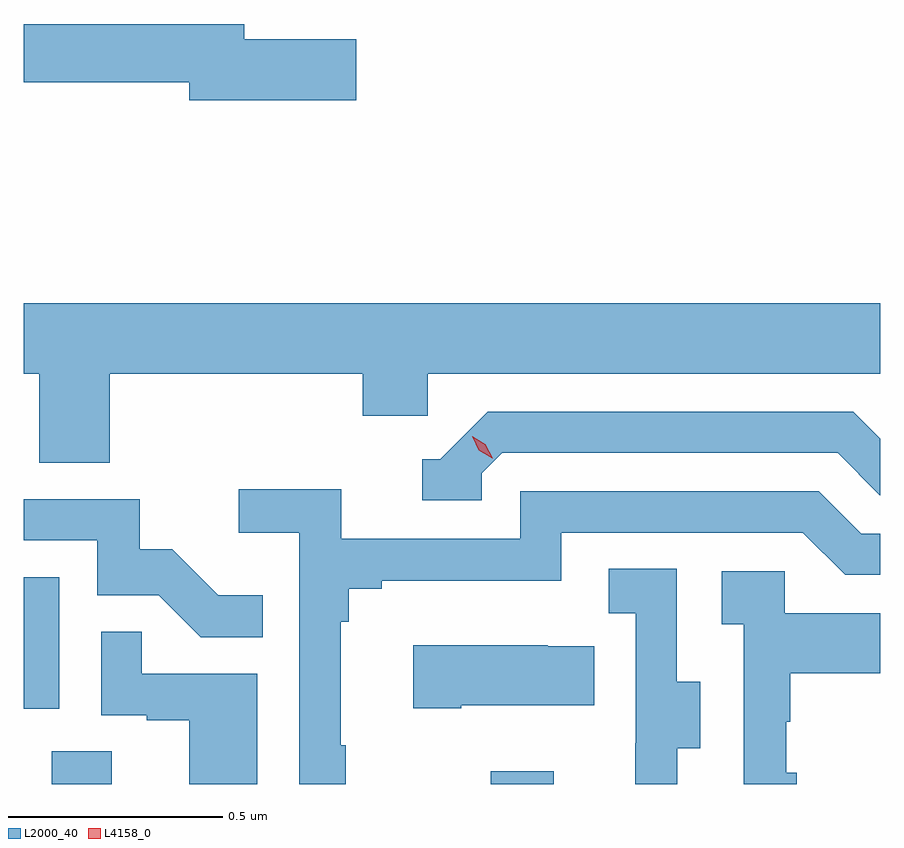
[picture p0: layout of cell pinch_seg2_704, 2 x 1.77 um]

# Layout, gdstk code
import gdstk
lib = gdstk.Library(unit=1e-6, precision=1e-09)
def R(c, l, rs):  # rectangles x0, y0, x1, y1
    for r in rs: c.add(gdstk.rectangle(r[:2], r[2:], *l))
def P(c, l, *ps):  # polygons
    for p in ps: c.add(gdstk.Polygon(p, *l))
L2000_40 = (2000, 40)
L4158_0 = (4158, 0)

pinch_seg2_704 = lib.new_cell('pinch_seg2_704')
R(pinch_seg2_704, L2000_40, [(1097.645,596.062,1097.785,596.138), (1098.67,596.062,1098.817,596.092), (1097.579,596.238,1097.662,596.545)])
P(pinch_seg2_704, L2000_40, [(1098.355,597.8),(1098.094,597.8),(1098.094,597.836),(1097.579,597.836),(1097.579,597.7),(1097.966,597.7),(1097.966,597.658),(1098.355,597.658)],
  [(1097.78,597.02),(1098.371,597.02),(1098.371,596.922),(1098.522,596.922),(1098.522,597.02),(1099.579,597.02),(1099.579,597.184),(1097.579,597.184),(1097.579,597.02),(1097.615,597.02),(1097.615,596.812),(1097.78,596.812)],
  [(1098.648,596.787),(1098.696,596.835),(1099.479,596.835),(1099.578,596.736),(1099.579,596.736),(1099.579,596.868),(1099.516,596.931),(1098.663,596.931),(1098.552,596.82),(1098.509,596.82),(1098.509,596.724),(1098.648,596.724)],
  [(1098.331,596.153),(1098.319,596.153),(1098.319,596.441),(1098.338,596.441),(1098.338,596.518),(1098.415,596.518),(1098.415,596.537),(1098.834,596.537),(1098.834,596.649),(1099.398,596.649),(1099.497,596.55),(1099.579,596.55),(1099.579,596.646),(1099.534,596.646),(1099.435,596.745),(1098.738,596.745),(1098.738,596.634),(1098.32,596.634),(1098.32,596.75),(1098.081,596.75),(1098.081,596.648),(1098.222,596.648),(1098.222,596.062),(1098.331,596.062)],
  [(1098.137,596.503),(1098.033,596.503),(1097.926,596.61),(1097.85,596.61),(1097.85,596.727),(1097.579,596.727),(1097.579,596.631),(1097.751,596.631),(1097.751,596.502),(1097.895,596.502),(1097.993,596.404),(1098.137,596.404)],
  [(1099.105,596.146),(1099.159,596.146),(1099.159,596.301),(1099.104,596.301),(1099.104,596.564),(1098.945,596.564),(1098.945,596.461),(1099.008,596.461),(1099.008,596.157),(1099.007,596.157),(1099.007,596.062),(1099.105,596.062)],
  [(1099.384,596.088),(1099.359,596.088),(1099.359,596.207),(1099.369,596.207),(1099.369,596.321),(1099.579,596.321),(1099.579,596.461),(1099.356,596.461),(1099.356,596.559),(1099.209,596.559),(1099.209,596.435),(1099.26,596.435),(1099.26,596.062),(1099.384,596.062)],
  [(1098.124,596.319),(1097.855,596.319),(1097.855,596.417),(1097.76,596.417),(1097.76,596.223),(1097.867,596.223),(1097.867,596.211),(1097.966,596.211),(1097.966,596.062),(1098.124,596.062)],
  [(1098.601,596.246),(1098.911,596.246),(1098.911,596.383),(1098.803,596.383),(1098.803,596.386),(1098.489,596.386),(1098.489,596.239),(1098.601,596.239)])
P(pinch_seg2_704, L4158_0, [(1098.673,596.822),(1098.642,596.841),(1098.626,596.874),(1098.626,596.874),(1098.626,596.874),(1098.657,596.855),(1098.674,596.822),(1098.674,596.822)])

lib.write_gds('pinch_seg2_704.gds')
